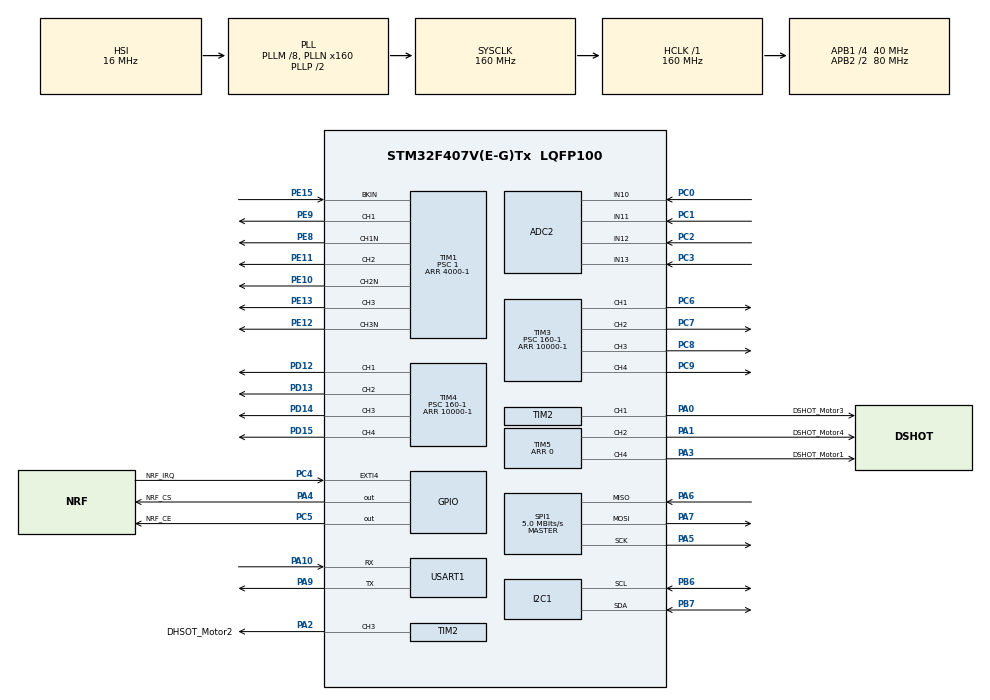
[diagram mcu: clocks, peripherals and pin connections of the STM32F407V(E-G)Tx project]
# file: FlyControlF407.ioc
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ADC2.Channel-0\#ChannelRegularConversion=ADC_CHANNEL_10
ADC2.Channel-1\#ChannelRegularConversion=ADC_CHANNEL_10
ADC2.EOCSelection=ADC_EOC_SEQ_CONV
ADC2.ExternalTrigConv=ADC_SOFTWARE_START
ADC2.InjNumberOfConversion=0
ADC2.NbrOfConversion=2
ADC2.NbrOfConversionFlag=1
ADC2.Rank-0\#ChannelRegularConversion=1
ADC2.Rank-1\#ChannelRegularConversion=2
ADC2.SamplingTime-0\#ChannelRegularConversion=ADC_SAMPLETIME_3CYCLES
ADC2.SamplingTime-1\#ChannelRegularConversion=ADC_SAMPLETIME_3CYCLES
Dma.ADC2.6.Direction=DMA_PERIPH_TO_MEMORY
Dma.ADC2.6.FIFOMode=DMA_FIFOMODE_DISABLE
Dma.ADC2.6.Instance=DMA2_Stream2
Dma.ADC2.6.MemDataAlignment=DMA_MDATAALIGN_HALFWORD
Dma.ADC2.6.MemInc=DMA_MINC_ENABLE
Dma.ADC2.6.Mode=DMA_NORMAL
Dma.ADC2.6.PeriphDataAlignment=DMA_PDATAALIGN_HALFWORD
Dma.ADC2.6.PeriphInc=DMA_PINC_DISABLE
Dma.ADC2.6.Priority=DMA_PRIORITY_LOW
Dma.I2C1_RX.2.Direction=DMA_PERIPH_TO_MEMORY
Dma.I2C1_RX.2.FIFOMode=DMA_FIFOMODE_DISABLE
Dma.I2C1_RX.2.Instance=DMA1_Stream0
Dma.I2C1_RX.2.MemDataAlignment=DMA_MDATAALIGN_BYTE
Dma.I2C1_RX.2.MemInc=DMA_MINC_ENABLE
Dma.I2C1_RX.2.Mode=DMA_NORMAL
Dma.I2C1_RX.2.PeriphDataAlignment=DMA_PDATAALIGN_BYTE
Dma.I2C1_RX.2.PeriphInc=DMA_PINC_DISABLE
Dma.I2C1_RX.2.Priority=DMA_PRIORITY_MEDIUM
Dma.Request0=SPI1_RX
Dma.Request1=SPI1_TX
Dma.Request10=TIM5_CH4/TRIG
Dma.Request2=I2C1_RX
Dma.Request3=TIM1_CH1/CH2/CH3
Dma.Request4=USART1_RX
Dma.Request5=USART1_TX
Dma.Request6=ADC2
Dma.Request7=TIM2_CH1
Dma.Request8=TIM2_UP/CH3
Dma.Request9=TIM5_CH2
Dma.SPI1_RX.0.Direction=DMA_PERIPH_TO_MEMORY
Dma.SPI1_RX.0.FIFOMode=DMA_FIFOMODE_DISABLE
Dma.SPI1_RX.0.Instance=DMA2_Stream0
Dma.SPI1_RX.0.MemDataAlignment=DMA_MDATAALIGN_BYTE
Dma.SPI1_RX.0.MemInc=DMA_MINC_ENABLE
Dma.SPI1_RX.0.Mode=DMA_NORMAL
Dma.SPI1_RX.0.PeriphDataAlignment=DMA_PDATAALIGN_BYTE
Dma.SPI1_RX.0.PeriphInc=DMA_PINC_DISABLE
Dma.SPI1_RX.0.Priority=DMA_PRIORITY_MEDIUM
Dma.SPI1_TX.1.Direction=DMA_MEMORY_TO_PERIPH
Dma.SPI1_TX.1.FIFOMode=DMA_FIFOMODE_DISABLE
Dma.SPI1_TX.1.Instance=DMA2_Stream3
Dma.SPI1_TX.1.MemDataAlignment=DMA_MDATAALIGN_BYTE
Dma.SPI1_TX.1.MemInc=DMA_MINC_ENABLE
Dma.SPI1_TX.1.Mode=DMA_NORMAL
Dma.SPI1_TX.1.PeriphDataAlignment=DMA_PDATAALIGN_BYTE
Dma.SPI1_TX.1.PeriphInc=DMA_PINC_DISABLE
Dma.SPI1_TX.1.Priority=DMA_PRIORITY_MEDIUM
Dma.TIM1_CH1/CH2/CH3.3.Direction=DMA_PERIPH_TO_MEMORY
Dma.TIM1_CH1/CH2/CH3.3.FIFOMode=DMA_FIFOMODE_DISABLE
Dma.TIM1_CH1/CH2/CH3.3.Instance=DMA2_Stream6
Dma.TIM1_CH1/CH2/CH3.3.MemDataAlignment=DMA_MDATAALIGN_HALFWORD
Dma.TIM1_CH1/CH2/CH3.3.MemInc=DMA_MINC_ENABLE
Dma.TIM1_CH1/CH2/CH3.3.Mode=DMA_NORMAL
Dma.TIM1_CH1/CH2/CH3.3.PeriphDataAlignment=DMA_PDATAALIGN_HALFWORD
Dma.TIM1_CH1/CH2/CH3.3.PeriphInc=DMA_PINC_ENABLE
Dma.TIM1_CH1/CH2/CH3.3.Priority=DMA_PRIORITY_LOW
Dma.TIM2_CH1.7.Direction=DMA_MEMORY_TO_PERIPH
Dma.TIM2_CH1.7.FIFOMode=DMA_FIFOMODE_ENABLE
Dma.TIM2_CH1.7.FIFOThreshold=DMA_FIFO_THRESHOLD_1QUARTERFULL
Dma.TIM2_CH1.7.Instance=DMA1_Stream5
Dma.TIM2_CH1.7.MemBurst=DMA_MBURST_SINGLE
Dma.TIM2_CH1.7.MemDataAlignment=DMA_MDATAALIGN_WORD
Dma.TIM2_CH1.7.MemInc=DMA_MINC_ENABLE
Dma.TIM2_CH1.7.Mode=DMA_NORMAL
Dma.TIM2_CH1.7.PeriphBurst=DMA_PBURST_SINGLE
Dma.TIM2_CH1.7.PeriphDataAlignment=DMA_PDATAALIGN_WORD
Dma.TIM2_CH1.7.PeriphInc=DMA_PINC_DISABLE
Dma.TIM2_CH1.7.Priority=DMA_PRIORITY_HIGH
Dma.TIM2_UP/CH3.8.Direction=DMA_MEMORY_TO_PERIPH
Dma.TIM2_UP/CH3.8.FIFOMode=DMA_FIFOMODE_ENABLE
Dma.TIM2_UP/CH3.8.FIFOThreshold=DMA_FIFO_THRESHOLD_1QUARTERFULL
Dma.TIM2_UP/CH3.8.Instance=DMA1_Stream1
Dma.TIM2_UP/CH3.8.MemBurst=DMA_MBURST_SINGLE
Dma.TIM2_UP/CH3.8.MemDataAlignment=DMA_MDATAALIGN_WORD
Dma.TIM2_UP/CH3.8.MemInc=DMA_MINC_ENABLE
Dma.TIM2_UP/CH3.8.Mode=DMA_NORMAL
Dma.TIM2_UP/CH3.8.PeriphBurst=DMA_PBURST_SINGLE
Dma.TIM2_UP/CH3.8.PeriphDataAlignment=DMA_PDATAALIGN_WORD
Dma.TIM2_UP/CH3.8.PeriphInc=DMA_PINC_DISABLE
Dma.TIM2_UP/CH3.8.Priority=DMA_PRIORITY_HIGH
Dma.TIM5_CH2.9.Direction=DMA_MEMORY_TO_PERIPH
Dma.TIM5_CH2.9.FIFOMode=DMA_FIFOMODE_ENABLE
Dma.TIM5_CH2.9.FIFOThreshold=DMA_FIFO_THRESHOLD_1QUARTERFULL
Dma.TIM5_CH2.9.Instance=DMA1_Stream4
Dma.TIM5_CH2.9.MemBurst=DMA_MBURST_SINGLE
Dma.TIM5_CH2.9.MemDataAlignment=DMA_MDATAALIGN_WORD
Dma.TIM5_CH2.9.MemInc=DMA_MINC_ENABLE
Dma.TIM5_CH2.9.Mode=DMA_NORMAL
Dma.TIM5_CH2.9.PeriphBurst=DMA_PBURST_SINGLE
Dma.TIM5_CH2.9.PeriphDataAlignment=DMA_PDATAALIGN_WORD
Dma.TIM5_CH2.9.PeriphInc=DMA_PINC_DISABLE
Dma.TIM5_CH2.9.Priority=DMA_PRIORITY_HIGH
Dma.TIM5_CH4/TRIG.10.Direction=DMA_MEMORY_TO_PERIPH
Dma.TIM5_CH4/TRIG.10.FIFOMode=DMA_FIFOMODE_ENABLE
Dma.TIM5_CH4/TRIG.10.FIFOThreshold=DMA_FIFO_THRESHOLD_1QUARTERFULL
Dma.TIM5_CH4/TRIG.10.Instance=DMA1_Stream3
Dma.TIM5_CH4/TRIG.10.MemBurst=DMA_MBURST_SINGLE
Dma.TIM5_CH4/TRIG.10.MemDataAlignment=DMA_MDATAALIGN_WORD
Dma.TIM5_CH4/TRIG.10.MemInc=DMA_MINC_ENABLE
Dma.TIM5_CH4/TRIG.10.Mode=DMA_NORMAL
Dma.TIM5_CH4/TRIG.10.PeriphBurst=DMA_PBURST_SINGLE
Dma.TIM5_CH4/TRIG.10.PeriphDataAlignment=DMA_PDATAALIGN_WORD
Dma.TIM5_CH4/TRIG.10.PeriphInc=DMA_PINC_DISABLE
Dma.TIM5_CH4/TRIG.10.Priority=DMA_PRIORITY_HIGH
Dma.USART1_RX.4.Direction=DMA_PERIPH_TO_MEMORY
Dma.USART1_RX.4.FIFOMode=DMA_FIFOMODE_DISABLE
Dma.USART1_RX.4.Instance=DMA2_Stream5
Dma.USART1_RX.4.MemDataAlignment=DMA_MDATAALIGN_BYTE
Dma.USART1_RX.4.MemInc=DMA_MINC_ENABLE
Dma.USART1_RX.4.Mode=DMA_NORMAL
Dma.USART1_RX.4.PeriphDataAlignment=DMA_PDATAALIGN_BYTE
Dma.USART1_RX.4.PeriphInc=DMA_PINC_DISABLE
Dma.USART1_RX.4.Priority=DMA_PRIORITY_LOW
Dma.USART1_TX.5.Direction=DMA_MEMORY_TO_PERIPH
Dma.USART1_TX.5.FIFOMode=DMA_FIFOMODE_DISABLE
Dma.USART1_TX.5.Instance=DMA2_Stream7
Dma.USART1_TX.5.MemDataAlignment=DMA_MDATAALIGN_BYTE
Dma.USART1_TX.5.MemInc=DMA_MINC_ENABLE
Dma.USART1_TX.5.Mode=DMA_NORMAL
Dma.USART1_TX.5.PeriphDataAlignment=DMA_PDATAALIGN_BYTE
Dma.USART1_TX.5.PeriphInc=DMA_PINC_DISABLE
Dma.USART1_TX.5.Priority=DMA_PRIORITY_LOW
FREERTOS.Tasks01=defaultTask,24,128,StartDefaultTask,Default,NULL,Dynamic,NULL,NULL
FREERTOS.configENABLE_FPU=1
FREERTOS.configTOTAL_HEAP_SIZE=32768
I2C1.DualAddressMode=I2C_DUALADDRESS_DISABLE
Mcu.Family=STM32F4
Mcu.Name=STM32F407V(E-G)Tx
Mcu.Package=LQFP100
NVIC.ADC_IRQn=true\:5\:0\:false\:false\:true\:true\:true\:true\:true
NVIC.DMA1_Stream0_IRQn=true\:5\:0\:false\:false\:true\:true\:false\:true\:true
NVIC.DMA1_Stream1_IRQn=true\:5\:0\:false\:false\:true\:true\:false\:true\:true
NVIC.DMA1_Stream3_IRQn=true\:5\:0\:false\:false\:true\:true\:false\:true\:true
NVIC.DMA1_Stream4_IRQn=true\:5\:0\:false\:false\:true\:true\:false\:true\:true
NVIC.DMA1_Stream5_IRQn=true\:5\:0\:false\:false\:true\:true\:false\:true\:true
NVIC.DMA2_Stream0_IRQn=true\:5\:0\:false\:false\:true\:true\:false\:true\:true
NVIC.DMA2_Stream2_IRQn=true\:5\:0\:false\:false\:true\:true\:false\:true\:true
NVIC.DMA2_Stream3_IRQn=true\:5\:0\:false\:false\:true\:true\:false\:true\:true
NVIC.DMA2_Stream5_IRQn=true\:5\:0\:false\:false\:true\:false\:false\:true\:true
NVIC.DMA2_Stream6_IRQn=true\:5\:0\:false\:false\:true\:true\:false\:true\:true
NVIC.DMA2_Stream7_IRQn=true\:5\:0\:false\:false\:true\:true\:false\:true\:true
NVIC.EXTI4_IRQn=true\:5\:0\:false\:false\:true\:true\:true\:true\:true
NVIC.FPU_IRQn=true\:5\:0\:false\:false\:true\:true\:true\:false\:true
NVIC.PriorityGroup=NVIC_PRIORITYGROUP_4
NVIC.TIM1_UP_TIM10_IRQn=true\:5\:0\:false\:false\:true\:true\:true\:true\:true
NVIC.TIM8_TRG_COM_TIM14_IRQn=true\:5\:0\:false\:false\:true\:false\:false\:true\:true
NVIC.TimeBase=TIM8_TRG_COM_TIM14_IRQn
NVIC.TimeBaseIP=TIM14
NVIC.USART1_IRQn=true\:5\:0\:false\:false\:true\:true\:false\:true\:true
PA0-WKUP.GPIO_Label=DSHOT_Motor3
PA0-WKUP.Signal=S_TIM2_CH1_ETR
PA1.GPIO_Label=DSHOT_Motor4
PA1.Signal=S_TIM5_CH2
PA10.Mode=Asynchronous
PA10.Signal=USART1_RX
PA13.Mode=Serial_Wire
PA13.Signal=SYS_JTMS-SWDIO
PA14.Mode=Serial_Wire
PA14.Signal=SYS_JTCK-SWCLK
PA2.GPIO_Label=DHSOT_Motor2
PA2.Signal=S_TIM2_CH3
PA3.GPIO_Label=DSHOT_Motor1
PA3.Signal=S_TIM5_CH4
PA4.GPIO_Label=NRF_CS
PA4.Signal=GPIO_Output
PA5.Mode=Full_Duplex_Master
PA5.Signal=SPI1_SCK
PA6.Mode=Full_Duplex_Master
PA6.Signal=SPI1_MISO
PA7.Mode=Full_Duplex_Master
PA7.Signal=SPI1_MOSI
PA9.Mode=Asynchronous
PA9.Signal=USART1_TX
PB6.Mode=I2C
PB6.Signal=I2C1_SCL
PB7.Mode=I2C
PB7.Signal=I2C1_SDA
PC0.Signal=ADCx_IN10
PC1.Signal=ADCx_IN11
PC2.Signal=ADCx_IN12
PC3.Signal=ADCx_IN13
PC4.GPIO_Label=NRF_IRQ
PC4.GPIO_ModeDefaultEXTI=GPIO_MODE_IT_FALLING
PC4.GPIO_PuPd=GPIO_PULLUP
PC4.Signal=GPXTI4
PC5.GPIO_Label=NRF_CE
PC5.Signal=GPIO_Output
PC6.Signal=S_TIM3_CH1
PC7.Signal=S_TIM3_CH2
PC8.Signal=S_TIM3_CH3
PC9.Signal=S_TIM3_CH4
PD12.Signal=S_TIM4_CH1
PD13.Signal=S_TIM4_CH2
PD14.Signal=S_TIM4_CH3
PD15.Signal=S_TIM4_CH4
PE10.Mode=PWM Generation2 CH2 CH2N
PE10.Signal=TIM1_CH2N
PE11.Signal=S_TIM1_CH2
PE12.Mode=PWM Generation3 CH3 CH3N
PE12.Signal=TIM1_CH3N
PE13.Signal=S_TIM1_CH3
PE15.Mode=Activate-Break-Input
PE15.Signal=TIM1_BKIN
PE8.Mode=PWM Generation1 CH1 CH1N
PE8.Signal=TIM1_CH1N
PE9.Signal=S_TIM1_CH1
ProjectManager.HeapSize=0x800
ProjectManager.StackSize=0xC00
ProjectManager.TargetToolchain=Makefile
RCC.48MHZClocksFreq_Value=80000000
RCC.AHBFreq_Value=160000000
RCC.APB1CLKDivider=RCC_HCLK_DIV4
RCC.APB1Freq_Value=40000000
RCC.APB1TimFreq_Value=80000000
RCC.APB2CLKDivider=RCC_HCLK_DIV2
RCC.APB2Freq_Value=80000000
RCC.APB2TimFreq_Value=160000000
RCC.CortexFreq_Value=160000000
RCC.HCLKFreq_Value=160000000
RCC.HSE_VALUE=25000000
RCC.HSI_VALUE=16000000
RCC.LSE_VALUE=32768
RCC.PLLM=8
RCC.PLLN=160
RCC.SYSCLKFreq_VALUE=160000000
RCC.SYSCLKSource=RCC_SYSCLKSOURCE_PLLCLK
RCC.VCOOutputFreq_Value=320000000
SH.ADCx_IN10.0=ADC2_IN10,IN10
SH.ADCx_IN11.0=ADC2_IN11,IN11
SH.ADCx_IN12.0=ADC2_IN12,IN12
SH.ADCx_IN13.0=ADC2_IN13,IN13
SH.S_TIM1_CH1.0=TIM1_CH1,PWM Generation1 CH1 CH1N
SH.S_TIM1_CH2.0=TIM1_CH2,PWM Generation2 CH2 CH2N
SH.S_TIM1_CH3.0=TIM1_CH3,PWM Generation3 CH3 CH3N
SH.S_TIM2_CH1_ETR.0=TIM2_CH1,PWM Generation1 CH1
SH.S_TIM2_CH3.0=TIM2_CH3,PWM Generation3 CH3
SH.S_TIM3_CH1.0=TIM3_CH1,PWM Generation1 CH1
SH.S_TIM3_CH2.0=TIM3_CH2,PWM Generation2 CH2
SH.S_TIM3_CH3.0=TIM3_CH3,PWM Generation3 CH3
SH.S_TIM3_CH4.0=TIM3_CH4,PWM Generation4 CH4
SH.S_TIM4_CH1.0=TIM4_CH1,PWM Generation1 CH1
SH.S_TIM4_CH2.0=TIM4_CH2,PWM Generation2 CH2
SH.S_TIM4_CH3.0=TIM4_CH3,PWM Generation3 CH3
SH.S_TIM4_CH4.0=TIM4_CH4,PWM Generation4 CH4
SH.S_TIM5_CH2.0=TIM5_CH2,PWM Generation2 CH2
SH.S_TIM5_CH4.0=TIM5_CH4,PWM Generation4 CH4
SPI1.BaudRatePrescaler=SPI_BAUDRATEPRESCALER_16
SPI1.CalculateBaudRate=5.0 MBits/s
SPI1.Direction=SPI_DIRECTION_2LINES
SPI1.Mode=SPI_MODE_MASTER
SPI1.VirtualType=VM_MASTER
TIM1.AutoReloadPreload=TIM_AUTORELOAD_PRELOAD_ENABLE
TIM1.AutomaticOutput=TIM_AUTOMATICOUTPUT_ENABLE
TIM1.BreakState=TIM_BREAK_ENABLE
TIM1.Channel-PWM\ Generation1\ CH1\ CH1N=TIM_CHANNEL_1
TIM1.Channel-PWM\ Generation2\ CH2\ CH2N=TIM_CHANNEL_2
TIM1.Channel-PWM\ Generation3\ CH3\ CH3N=TIM_CHANNEL_3
TIM1.CounterMode=TIM_COUNTERMODE_CENTERALIGNED3
TIM1.DeadTime=4
TIM1.OCNPolarity_1=TIM_OCNPOLARITY_HIGH
TIM1.OCNPolarity_2=TIM_OCNPOLARITY_HIGH
TIM1.OCNPolarity_3=TIM_OCNPOLARITY_HIGH
TIM1.OCPolarity_1=TIM_OCPOLARITY_LOW
TIM1.OCPolarity_2=TIM_OCPOLARITY_LOW
TIM1.OCPolarity_3=TIM_OCPOLARITY_LOW
TIM1.OffStateIDLEMode=TIM_OSSI_ENABLE
TIM1.OffStateRunMode=TIM_OSSR_ENABLE
TIM1.Period=4000-1
TIM1.Prescaler=1
TIM2.Channel-PWM\ Generation1\ CH1=TIM_CHANNEL_1
TIM2.Channel-PWM\ Generation3\ CH3=TIM_CHANNEL_3
TIM2.Period=0
TIM3.AutoReloadPreload=TIM_AUTORELOAD_PRELOAD_ENABLE
TIM3.Channel-PWM\ Generation1\ CH1=TIM_CHANNEL_1
TIM3.Channel-PWM\ Generation2\ CH2=TIM_CHANNEL_2
TIM3.Channel-PWM\ Generation3\ CH3=TIM_CHANNEL_3
TIM3.Channel-PWM\ Generation4\ CH4=TIM_CHANNEL_4
TIM3.Period=10000-1
TIM3.Prescaler=160-1
TIM4.AutoReloadPreload=TIM_AUTORELOAD_PRELOAD_ENABLE
TIM4.Channel-PWM\ Generation1\ CH1=TIM_CHANNEL_1
TIM4.Channel-PWM\ Generation2\ CH2=TIM_CHANNEL_2
TIM4.Channel-PWM\ Generation3\ CH3=TIM_CHANNEL_3
TIM4.Channel-PWM\ Generation4\ CH4=TIM_CHANNEL_4
TIM4.Period=10000-1
TIM4.Prescaler=160-1
TIM5.Channel-PWM\ Generation2\ CH2=TIM_CHANNEL_2
TIM5.Channel-PWM\ Generation4\ CH4=TIM_CHANNEL_4
TIM5.Period=0
USART1.VirtualMode=VM_ASYNC
VP_FREERTOS_VS_CMSIS_V2.Mode=CMSIS_V2
VP_SYS_VS_tim14.Mode=TIM14
VP_TIM2_VS_ClockSourceINT.Mode=Internal
VP_TIM2_VS_OPM.Mode=OPM_bit
VP_TIM5_VS_ClockSourceINT.Mode=Internal
board=custom

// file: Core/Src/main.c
/* USER CODE BEGIN Header */
/**
  ******************************************************************************
  * @file           : main.c
  * @brief          : Main program body
  ******************************************************************************
  * @attention
  *
  * Copyright (c) 2025 STMicroelectronics.
  * All rights reserved.
  *
  * This software is licensed under terms that can be found in the LICENSE file
  * in the root directory of this software component.
  * If no LICENSE file comes with this software, it is provided AS-IS.
  *
  ******************************************************************************
  */
/* USER CODE END Header */
#include "main.h"
#include "cmsis_os.h"
#include "adc.h"
#include "dma.h"
#include "i2c.h"
#include "spi.h"
#include "tim.h"
#include "usart.h"
#include "gpio.h"

/* USER CODE BEGIN Includes */
#include "nrf24l01.h"
#include "dshot.h"
/* USER CODE END Includes */

/* USER CODE BEGIN PTD */
typedef enum {
  DeviceIdent,
  DeviceConnect,
  ChannelCount = 0x10,
  ChannelMode,
  ChannelValue,
} CommandByte;

typedef struct rfpackage_template
{
  uint8_t command;
  uint8_t mac0_dshotcount_chmode_targetch;
  union
  {
    struct
    {
      uint8_t mac1_chcount_val0;
      uint8_t mac2_val1;
    };
    uint16_t value;
  };

  uint8_t mac3;
  uint8_t mac4;
};
/* USER CODE END PTD */

/* USER CODE BEGIN PV */
nrf24l01 nrf;
static uint8_t rxBuffer[32];
static uint8_t txBuffer[32];

static uint8_t mac[5];
const static uint8_t broadcastMac[5] = {0xab, 0xbc, 0xcd, 0xde, 0xef};

uint16_t motorValue[4] = {0, 0, 0, 0};
/* USER CODE END PV */

void SystemClock_Config(void);
void MX_FREERTOS_Init(void);

/* USER CODE BEGIN 0 */
void HAL_GPIO_EXTI_Callback(uint16_t GPIO_Pin)
{
  if (GPIO_Pin == NRF_IRQ_Pin)
  {
    nrf_irq_handler(&nrf);
  }
}

void nrf_packet_received_callback(nrf24l01* dev, uint8_t* data)
{
  // 处理协议
  dev->rx_busy = 0;
}

void flycontrol_SetChannelOutput(uint8_t channel, uint16_t value)
{
  motorValue[channel] = value;
  dshot_write(motorValue);
}
/* USER CODE END 0 */

int main(void)
{

  /* MCU Configuration--------------------------------------------------------*/

  /* Reset of all peripherals, Initializes the Flash interface and the Systick. */
  HAL_Init();

  /* Configure the system clock */
  SystemClock_Config();

  /* Initialize all configured peripherals */
  MX_GPIO_Init();
  MX_DMA_Init();
  MX_ADC2_Init();
  MX_SPI1_Init();
  MX_TIM1_Init();
  MX_TIM3_Init();
  MX_TIM4_Init();
  MX_USART1_UART_Init();
  MX_I2C1_Init();
  MX_TIM2_Init();
  MX_TIM5_Init();
  /* USER CODE BEGIN 2 */
  nrf24l01_config config;
  config.data_rate = NRF_DATA_RATE_250KBPS;
  config.tx_power = NRF_TX_PWR_0dBm;
  config.crc_width = NRF_CRC_WIDTH_1B;
  config.addr_width = NRF_ADDR_WIDTH_5;
  config.payload_length = 32;
  config.retransmit_count = 5;
  config.retransmit_delay = 0x0f;
  config.rf_channel = 0x2b;
  config.rx_address = mac;
  config.tx_address = broadcastMac;
  config.rx_buffer = rxBuffer;
  config.spi = &hspi1;
  config.irq_pin = NRF_IRQ_Pin;
  config.irq_port = NRF_IRQ_GPIO_Port;
  config.ce_pin = NRF_CE_Pin;
  config.ce_port = NRF_CE_GPIO_Port;
  config.csn_pin = NRF_CS_Pin;
  config.csn_port = NRF_CS_GPIO_Port;
  nrf_init(&nrf, &config);
  dshot_init(DSHOT600);

  nrf_push_packet(&nrf, (uint8_t*)"Hello World");
  /* USER CODE END 2 */

  /* Init scheduler */
  osKernelInitialize();

  /* Call init function for freertos objects (in cmsis_os2.c) */
  MX_FREERTOS_Init();

  /* Start scheduler */
  osKernelStart();

  /* We should never get here as control is now taken by the scheduler */

  /* Infinite loop */
  while (1)
  {

  }
}

void SystemClock_Config(void)
{
  RCC_OscInitTypeDef RCC_OscInitStruct = {0};
  RCC_ClkInitTypeDef RCC_ClkInitStruct = {0};

  /** Configure the main internal regulator output voltage
  */
  __HAL_RCC_PWR_CLK_ENABLE();
  __HAL_PWR_VOLTAGESCALING_CONFIG(PWR_REGULATOR_VOLTAGE_SCALE1);

  /** Initializes the RCC Oscillators according to the specified parameters
  * in the RCC_OscInitTypeDef structure.
  */
  RCC_OscInitStruct.OscillatorType = RCC_OSCILLATORTYPE_HSI;
  RCC_OscInitStruct.HSIState = RCC_HSI_ON;
  RCC_OscInitStruct.HSICalibrationValue = RCC_HSICALIBRATION_DEFAULT;
  RCC_OscInitStruct.PLL.PLLState = RCC_PLL_ON;
  RCC_OscInitStruct.PLL.PLLSource = RCC_PLLSOURCE_HSI;
  RCC_OscInitStruct.PLL.PLLM = 8;
  RCC_OscInitStruct.PLL.PLLN = 160;
  RCC_OscInitStruct.PLL.PLLP = RCC_PLLP_DIV2;
  RCC_OscInitStruct.PLL.PLLQ = 4;
  if (HAL_RCC_OscConfig(&RCC_OscInitStruct) != HAL_OK)
  {
    Error_Handler();
  }

  /** Initializes the CPU, AHB and APB buses clocks
  */
  RCC_ClkInitStruct.ClockType = RCC_CLOCKTYPE_HCLK|RCC_CLOCKTYPE_SYSCLK
                              |RCC_CLOCKTYPE_PCLK1|RCC_CLOCKTYPE_PCLK2;
  RCC_ClkInitStruct.SYSCLKSource = RCC_SYSCLKSOURCE_PLLCLK;
  RCC_ClkInitStruct.AHBCLKDivider = RCC_SYSCLK_DIV1;
  RCC_ClkInitStruct.APB1CLKDivider = RCC_HCLK_DIV4;
  RCC_ClkInitStruct.APB2CLKDivider = RCC_HCLK_DIV2;

  if (HAL_RCC_ClockConfig(&RCC_ClkInitStruct, FLASH_LATENCY_5) != HAL_OK)
  {
    Error_Handler();
  }
}

void HAL_TIM_PeriodElapsedCallback(TIM_HandleTypeDef *htim)
{
  if (htim->Instance == TIM14) {
    HAL_IncTick();
  }
}

void Error_Handler(void)
{
  __disable_irq();
  while (1)
  {
  }
}
